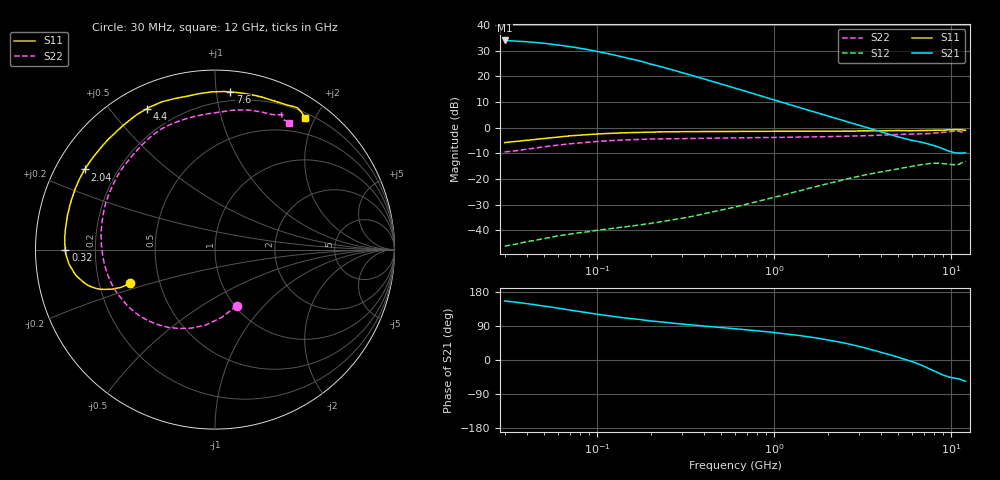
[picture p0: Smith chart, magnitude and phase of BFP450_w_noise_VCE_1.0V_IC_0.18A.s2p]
! (c) 2015  Infineon Technologies AG, Munich
! Infineon Technologies  Discrete & RF Semiconductors
! BFP450
! VCE =  1.0 V,  IC = 0.18 A
! Common Emitter S-Parameters:  Nov 2015
# GHz  S  MA  R  50
!  f  S11  S21  S12  S22
! GHz  MAG  ANG  MAG  ANG  MAG  ANG  MAG  ANG
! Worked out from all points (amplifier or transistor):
!   239 points, 30 MHz to 12 GHz, reference 50 ohm
!   highest |S21| = 33.9 dB at 30 MHz (marker M1)
!   |S21| within 3 dB of that: start of sweep to 79.43 MHz
!   unconditionally stable (mu >= 1): start of sweep to 54.74 MHz; 376.8 MHz to end of sweep
!   at 300 MHz: K = 0.95, MSG = 28.4 dB, |S12| = -35.3 dB
!   at 1.88 GHz: K = 1.17, MAG = 11.2 dB, |S12| = -22.3 dB
!   at 12 GHz: K = 1.12, MAG = -0.4 dB, |S12| = -13.1 dB
!   lowest NFmin = 2.85 dB at 450 MHz
!   S11 on the Smith chart (normalised r, x): 30 MHz: 0.33, -0.17; 320 MHz: 0.09, -0.00; 2.04 GHz: 0.09, +0.28; 4.4 GHz: 0.09, +0.62; 7.6 GHz: 0.14, +1.09; 12 GHz: 0.27, +1.87
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0.03  0.5102 -158.4  49.75 155.8  0.0049 72.0  0.3351 -69.0
0.035  0.5378 -158.2  48.25 152.4  0.0054 69.2  0.3544 -77.2
0.04  0.5655 -158.1  46.94 148.7  0.006 67.0  0.3802 -84.4
0.05  0.6149 -159.0  43.85 142.2  0.0069 64.3  0.423 -96.9
0.06  0.6581 -160.3  40.67 136.9  0.0078 59.7  0.4563 -106.6
0.07  0.6894 -161.5  37.73 131.6  0.0084 57.8  0.4831 -114.5
0.085  0.7241 -163.6  33.83 126.0  0.0092 54.8  0.5139 -123.9
0.1  0.7507 -165.6  30.39 120.9  0.01 53.5  0.5374 -131.3
0.13  0.7835 -169.0  25.04 113.4  0.0112 52.7  0.5671 -142.0
0.15  0.7961 -170.9  22.29 109.8  0.0119 52.7  0.5796 -147.2
0.2  0.8174 -174.3  17.23 103.0  0.0136 53.7  0.5977 -156.1
0.24  0.825 -176.5  14.68 99.5  0.015 55.3  0.605 -160.8
0.32  0.8338 -179.7  11.1 93.8  0.0178 57.8  0.615 -167.6
0.45  0.8388 176.4  7.859 87.5  0.0227 60.7  0.6237 -174.5
0.6  0.8412 172.8  5.851 82.3  0.0284 62.3  0.6304 -179.8
1  0.8431 165.3  3.443 72.4  0.0439 62.0  0.6426 170.6
1.64  0.8502 154.8  2.07 59.9  0.0681 56.4  0.6584 158.9
2.04  0.8522 148.4  1.655 52.5  0.0823 51.7  0.6673 152.2
4.4  0.8721 115.9  0.748 15.1  0.1449 23.3  0.7224 120.1
4.5  0.8736 114.8  0.73 13.6  0.147 22.3  0.7256 119.0
7.6  0.8833 84.5  0.469 -24.4  0.2001 -11.5  0.7675 87.7
12  0.887 55.6  0.326 -56.2  0.221 -43.1  0.82 59.6
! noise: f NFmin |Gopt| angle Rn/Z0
0.45  2.85  0.72  -171  0.08
0.9  2.9  0.74  -165  0.1
1.9  3.01  0.75  -148  0.27
2.4  3.09  0.74  -138  0.42
